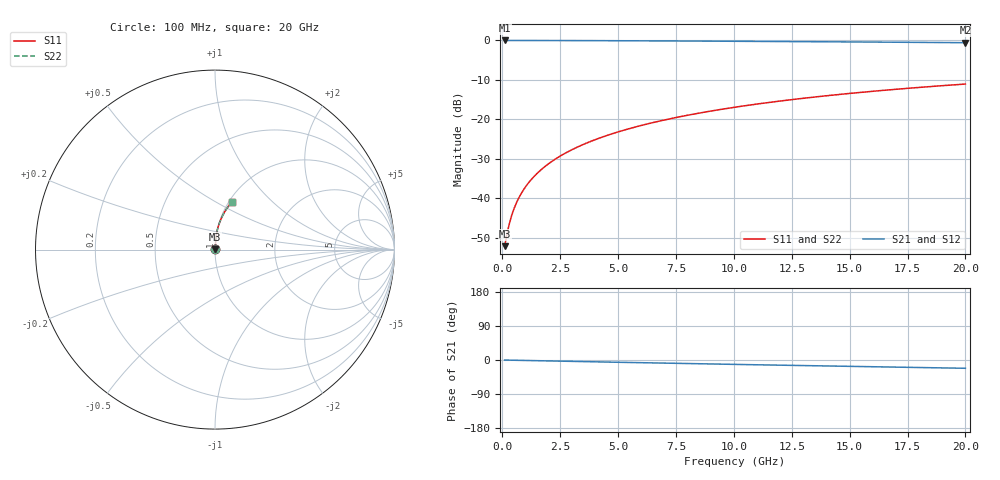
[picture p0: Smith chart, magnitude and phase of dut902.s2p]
! Touchstone file exported from HFSS 2024.1.0
!  File:  C:/UserFiles/LocalFiles/RDL_TSV_Batchsim/temp_RDL_top_902_1779935548.aedt
!  Generated:  10:36:15 AM May 28, 2026
!  Design:  RDL_top
!  Project:  temp_RDL_top_902_1779935548
!  Setup:  Setup1
!  Solution:  Sweep
! Variables:
!  dtsv = 10.80580581um
!  hbump = 3um
!  htsv = 51.48um
!  ldown = 100um
!  lrdl = 226.59um
!  p = 40
!  p1 = 57.94um
!  rhole = 1um
!  t = 450um
!  tdown = 3.915915916um
!  trdl = 2.71um
!  wdown = 15.38538539um
!  wrdl = 16.42um
# GHz S MA R 50.000000
! Terminal data exported
! Port[1] = Box2_T1
! Port[2] = Box2_T2
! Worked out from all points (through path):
!   200 points, 100 MHz to 20 GHz, reference 50 ohm
!   highest |S21| = -0.02 dB at 100 MHz (marker M1); lowest = -0.6 dB at 20 GHz (marker M2)
!   group delay of S21, straight-line fit = 3.02 ps
!   lowest |S11| = -52.1 dB at 100 MHz (marker M3), VSWR 1.00, Z = 50.2 + j0.143 ohm
!   |S11| at or under -10 dB: start of sweep to end of sweep
!   |S22| runs from -52.1 to -11.0 dB; largest |S21 - S12| = 4.2e-15
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0.1  0.002493 34.9  0.998 -0.1  0.998 -0.1  0.002493 34.9
! Gamma 0 0 0 0
! Port Impedance 50 0 50 0
0.2  0.003523 53.8  0.9979 -0.3  0.9979 -0.3  0.003523 53.8
0.3  0.004749 63.4  0.9979 -0.4  0.9979 -0.4  0.004749 63.4
0.4  0.006038 68.8  0.9978 -0.5  0.9978 -0.5  0.006038 68.8
0.5  0.007349 72.3  0.9977 -0.6  0.9977 -0.6  0.007349 72.3
0.6  0.00867 74.7  0.9976 -0.7  0.9976 -0.7  0.00867 74.7
0.8  0.01133 77.9  0.9975 -1.0  0.9975 -1.0  0.01133 77.9
1.1  0.01534 80.7  0.9972 -1.4  0.9972 -1.4  0.01534 80.7
1.5  0.02073 82.7  0.9968 -1.8  0.9968 -1.8  0.02073 82.7
1.8  0.02481 83.6  0.9965 -2.2  0.9965 -2.2  0.02481 83.6
2.1  0.02891 84.2  0.9961 -2.6  0.9961 -2.6  0.02891 84.2
2.7  0.03716 84.9  0.9952 -3.3  0.9952 -3.3  0.03716 84.9
3.5  0.0483 85.3  0.9938 -4.2  0.9938 -4.2  0.04829 85.3
4.2  0.05815 85.3  0.9923 -5.1  0.9923 -5.1  0.05815 85.3
5  0.06953 85.1  0.9903 -6.0  0.9903 -6.0  0.06953 85.1
5.9  0.08246 84.6  0.9879 -7.0  0.9879 -7.0  0.08246 84.6
6.8  0.0955 84.0  0.9853 -8.0  0.9853 -8.0  0.09549 84.0
8.3  0.1173 82.8  0.9806 -9.7  0.9806 -9.7  0.1173 82.8
10.1  0.1436 81.1  0.9746 -11.7  0.9746 -11.7  0.1435 81.0
13.4  0.1909 77.6  0.9626 -15.2  0.9626 -15.2  0.1909 77.6
16.7  0.2366 74.1  0.9494 -18.5  0.9494 -18.5  0.2366 74.1
20  0.2803 70.6  0.9352 -21.8  0.9352 -21.8  0.2803 70.6
